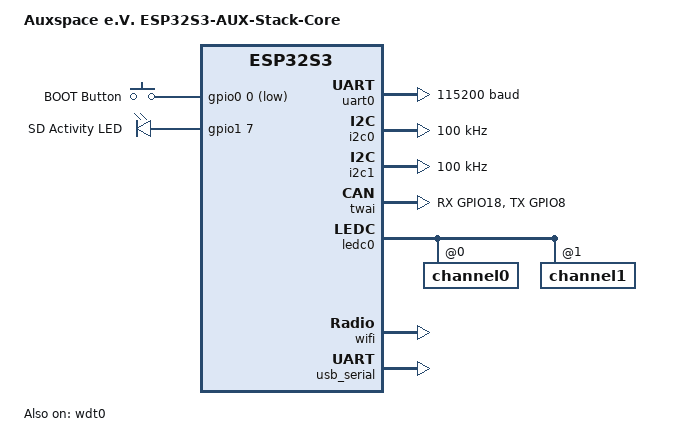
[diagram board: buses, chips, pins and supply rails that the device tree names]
/*
 * Copyright (c) 2025-2026 Auxspace e.V.
 *
 * SPDX-License-Identifier: Apache-2.0
 *
 * AUX-Stack-Core hardware:
 *   - Native SDHC SD card (espressif,esp32-sdhc slot, 4-bit) instead of the
 *     rev.1 SPI-attached card.
 *   - Updated barometer to the Bosch BMP581.
 *   - Separate Remove Before Flight Pin.
 *   - Extra Status LEDs
 *   - USB-C
 */

#include <zephyr/dt-bindings/adc/adc.h>
#include <zephyr/dt-bindings/input/input-event-codes.h>
#include <zephyr/dt-bindings/input/esp32-touch-sensor-input.h>
#include <zephyr/dt-bindings/pwm/pwm.h>
#include <zephyr/dt-bindings/sensor/lsm6dso.h>

/ {

	model = "Auxspace e.V. ESP32S3-AUX-Stack-Core";
	compatible = "espressif,esp32s3";

	aliases {
		i2c-0 = &i2c0;
		i2c-1 = &i2c1;
		watchdog0 = &wdt0;
		uart-0 = &uart0;
		sw0 = &button0;
	};

	chosen {
		zephyr,sram = &sram1;
		zephyr,console = &usb_serial;
		zephyr,shell-uart = &usb_serial;
		zephyr,flash = &flash0;
		zephyr,code-partition = &slot0_partition;
		zephyr,bt-hci = &esp32_bt_hci;
	};

	buttons: buttons {
	compatible = "gpio-keys";

		button0: button_0 {
			gpios = <&gpio0 0 (GPIO_PULL_UP | GPIO_ACTIVE_LOW)>;
			label = "BOOT Button";
			zephyr,code = <INPUT_KEY_0>;
		};
	};

	buzzer0: buzzer_0 {
		compatible = "auxspaceev,pwm-buzzer";
		pwms = <&ledc0 0 PWM_MSEC(200) PWM_POLARITY_NORMAL>;
		status = "disabled";
	};

	pwmleds: pwmleds {
		compatible = "pwm-leds";
		status = "disabled";

		red_pwm_led: led_pwm_0 {
			pwms = <&ledc0 1 PWM_MSEC(20) PWM_POLARITY_NORMAL>;
			label = "RED Notifier LED";
		};
	};

	status_leds: status-leds {
		compatible = "gpio-leds";

		sd_activity_led: led_sd {
			gpios = <&gpio1 7 GPIO_ACTIVE_HIGH>;
			label = "SD Activity LED";
		};
	};

};

&pinctrl {
	sdmmc_default: sdmmc_default {
		group1 {
			pinmux = <SDHC0_CLKOUT_GPIO6>,
				 <SDHC0_CMD_GPIO5>,
				 <SDHC0_DATA0_GPIO7>,
				 <SDHC0_DATA1_GPIO41>,
				 <SDHC0_DATA2_GPIO42>,
				 <SDHC0_DATA3_GPIO4>;
			bias-pull-up;
		};
	};

	twai_default: twai_default {
		group1 {
			pinmux = <TWAI_RX_GPIO18>,
				 <TWAI_TX_GPIO8>;
		};
	};
};

&uart0 {
	current-speed = <115200>;
	pinctrl-0 = <&uart0_default>;
	pinctrl-names = "default";
};

&touch {
	debounce-interval-ms = <30>;
	href-microvolt = <2700000>;
	lref-microvolt = <500000>;
	href-atten-microvolt = <1000000>;
	filter-mode = <ESP32_TOUCH_FILTER_MODE_IIR_16>;
	filter-debounce-cnt = <1>;
	filter-noise-thr = <ESP32_TOUCH_FILTER_NOISE_THR_4_8TH>;
	filter-jitter-step = <4>;
	filter-smooth-level = <ESP32_TOUCH_FILTER_SMOOTH_MODE_IIR_2>;
};

&i2c0 {
	clock-frequency = <I2C_BITRATE_STANDARD>;
	pinctrl-0 = <&i2c0_default>;
	pinctrl-names = "default";

	lsm6dso320: lsm6dso32@6b {
		compatible = "st,lsm6dso32";
		reg = <0x6b>;
		irq-gpios = <&gpio0 9 GPIO_ACTIVE_HIGH>;
		int-pin = <1>;
		status = "disabled";
	};

	bmp581_0: bmp581@47 {
		compatible = "bosch,bmp581";
		reg = <0x47>;
		/* BMP581 INT is open-drain, active low. */
		int-gpios = <&gpio0 10 GPIO_ACTIVE_LOW>;
		status = "disabled";
	};
};

&i2c1 {
	clock-frequency = <I2C_BITRATE_STANDARD>;
	pinctrl-0 = <&i2c1_default>;
	pinctrl-names = "default";
};

&i2s0 {
	pinctrl-0 = <&i2s0_default>;
	pinctrl-names = "default";
};

&i2s1 {
	pinctrl-0 = <&i2s1_default>;
	pinctrl-names = "default";
};

&twai {
	pinctrl-0 = <&twai_default>;
	pinctrl-names = "default";
};

&ledc0 {
	#address-cells = <1>;
	#size-cells = <0>;
	status = "okay";
	pinctrl-0 = <&ledc0_default>;
	pinctrl-names = "default";

	channel0@0 {
		reg = <0x0>;
		timer = <0>;
	};

	channel1@1 {
		reg = <0x1>;
		timer = <1>;
	};
};

&wifi {
	status = "okay";
};

&wdt0 {
	status = "okay";
};


&sdhc0 {
	bus-width = <4>;
	pinctrl-0 = <&sdmmc_default>;
	pinctrl-names = "default";
	max-bus-freq = <40000000>;
	status = "disabled";

	mmc0: mmc_0 {
		compatible = "zephyr,sdmmc-disk";
		disk-name = "MMC";
		status = "disabled";
	};
};

&usb_serial {
	status = "okay";
};
